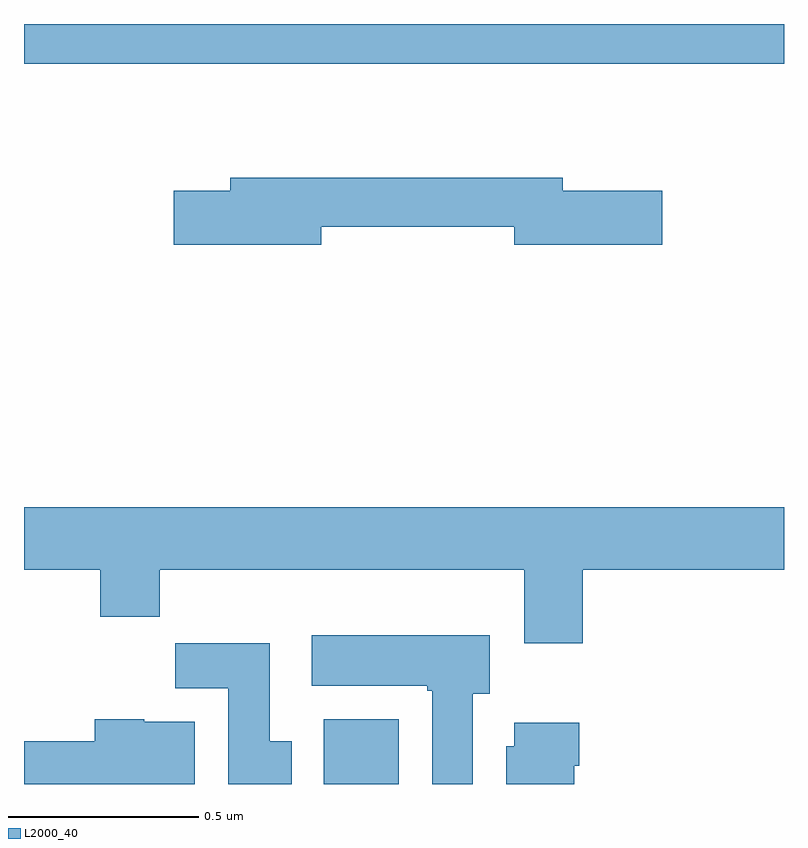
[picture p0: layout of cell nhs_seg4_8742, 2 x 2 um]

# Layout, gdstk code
import gdstk
lib = gdstk.Library(unit=1e-6, precision=1e-09)
def R(c, l, rs):  # rectangles x0, y0, x1, y1
    for r in rs: c.add(gdstk.rectangle(r[:2], r[2:], *l))
def P(c, l, *ps):  # polygons
    for p in ps: c.add(gdstk.Polygon(p, *l))
L2000_40 = (2000, 40)

nhs_seg4_8742 = lib.new_cell('nhs_seg4_8742')
R(nhs_seg4_8742, L2000_40, [(218.789,818.9,218.986,819.07), (218,820.796,220,820.9)])
P(nhs_seg4_8742, L2000_40, [(218.782,820.366),(219.29,820.366),(219.29,820.319),(219.679,820.319),(219.679,820.461),(219.418,820.461),(219.418,820.495),(218.543,820.495),(218.543,820.461),(218.394,820.461),(218.394,820.319),(218.782,820.319)],
  [(219.47,819.464),(220,819.464),(220,819.628),(218,819.628),(218,819.464),(218.201,819.464),(218.201,819.34),(218.357,819.34),(218.357,819.464),(219.317,819.464),(219.317,819.27),(219.47,819.27)],
  [(219.181,819.138),(219.226,819.138),(219.226,819.292),(218.757,819.292),(218.757,819.158),(219.061,819.158),(219.061,819.145),(219.074,819.145),(219.074,818.9),(219.181,818.9)],
  [(218.704,819.012),(218.647,819.012),(218.647,819.271),(218.398,819.271),(218.398,819.152),(218.537,819.152),(218.537,818.9),(218.704,818.9)],
  [(218.449,819.064),(218.316,819.064),(218.316,819.07),(218.186,819.07),(218.186,819.012),(218,819.012),(218,818.9),(218.449,818.9)],
  [(219.448,818.948),(219.461,818.948),(219.461,819.061),(219.29,819.061),(219.29,819),(219.269,819),(219.269,818.9),(219.448,818.9)])

lib.write_gds('nhs_seg4_8742.gds')
